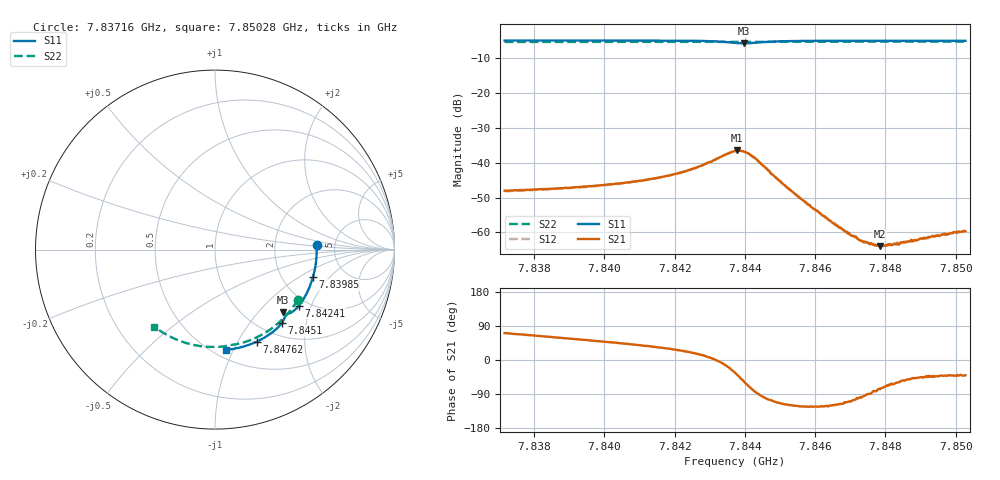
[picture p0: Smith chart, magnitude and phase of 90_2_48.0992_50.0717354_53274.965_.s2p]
#  HZ  S  RI  R  50.00
! Rohde & Schwarz Vector Network Analyzer
! Rohde-Schwarz,ZNB20-2Port,1311601062101988,3.16
! Created: UTC 12/23/2023, 3:43:40 AM
! freq[Hz]  re:S11  im:S11  re:S21  im:S21  re:S12  im:S12  re:S22  im:S22
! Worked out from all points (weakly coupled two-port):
!   401 points, 7.83716 GHz to 7.85028 GHz, reference 50 ohm
!   highest |S21| = -36.47 dB at 7.84378 GHz (marker M1); lowest = -63.9 dB at 7.84785 GHz (marker M2)
!   lowest |S11| = -5.8 dB at 7.84398 GHz (marker M3), VSWR 3.13, Z = 72.7 - j68.9 ohm
!   |S11| at or under -10 dB: nowhere
!   |S22| runs from -5.4 to -5.3 dB; largest |S21 - S12| = 0.00031
!   S11 on the Smith chart (normalised r, x): 7.83716 GHz: 3.59, +0.26; 7.83985 GHz: 2.96, -1.33; 7.84241 GHz: 1.80, -1.64; 7.8451 GHz: 1.24, -1.46; 7.84762 GHz: 0.80, -1.20; 7.85028 GHz: 0.57, -0.94
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7.837162e9  0.5657 0.0248  0.0013 0.00376  0.0013 0.00371  0.4615 -0.2799
7.839358e9  0.5541 -0.1207  0.00267 0.00365  0.00265 0.0036  0.3645 -0.3989
7.83985e9  0.5459 -0.1529  0.00306 0.00359  0.00306 0.00361  0.3385 -0.4216
7.841555e9  0.5018 -0.2609  0.00513 0.00336  0.00507 0.00333  0.238 -0.4861
7.842407e9  0.4678 -0.312  0.00734 0.00282  0.00729 0.00284  0.1827 -0.5095
7.843227e9  0.4191 -0.3536  0.0116 -0.000372  0.0116 -0.000491  0.1273 -0.5255
7.843719e9  0.3843 -0.3555  0.0122 -0.00814  0.0122 -0.00799  0.0943 -0.531
7.843784e9  0.3817 -0.3534  0.0116 -0.00956  0.0115 -0.00935  0.0901 -0.5314
7.843981e9  0.3805 -0.348  0.00773 -0.0122  0.00781 -0.0121  0.0778 -0.5334
7.844112e9  0.3838 -0.3481  0.00463 -0.0126  0.00473 -0.0126  0.0695 -0.535
7.844309e9  0.389 -0.3554  0.001 -0.0114  0.000951 -0.0113  0.0565 -0.5374
7.845096e9  0.3732 -0.4078  -0.00217 -0.00441  -0.00213 -0.00445  0.00149 -0.5427
7.845916e9  0.3323 -0.4505  -0.00125 -0.00189  -0.00126 -0.00191  -0.0562 -0.5407
7.846473e9  0.3014 -0.4739  -0.000712 -0.00122  -0.000696 -0.00124  -0.0952 -0.5357
7.846998e9  0.2708 -0.4931  -0.00029 -0.000881  -0.000291 -0.000882  -0.1315 -0.5282
7.847293e9  0.2532 -0.5025  -0.000101 -0.000753  -0.000117 -0.000803  -0.1515 -0.5231
7.84762e9  0.2333 -0.5121  5.42e-05 -0.000676  4.18e-05 -0.000673  -0.1734 -0.5165
7.84785e9  0.2193 -0.5186  0.000142 -0.00062  0.000171 -0.000639  -0.1888 -0.5113
7.848112e9  0.2029 -0.5252  0.000283 -0.000593  0.000269 -0.000605  -0.2059 -0.5047
7.848637e9  0.1697 -0.5367  0.000468 -0.000581  0.000432 -0.000579  -0.2396 -0.4898
7.849588e9  0.1083 -0.5522  0.000706 -0.00061  0.000695 -0.000628  -0.2978 -0.4574
7.850276e9  0.0629 -0.5588  0.000796 -0.000672  0.000777 -0.000715  -0.3373 -0.4296
